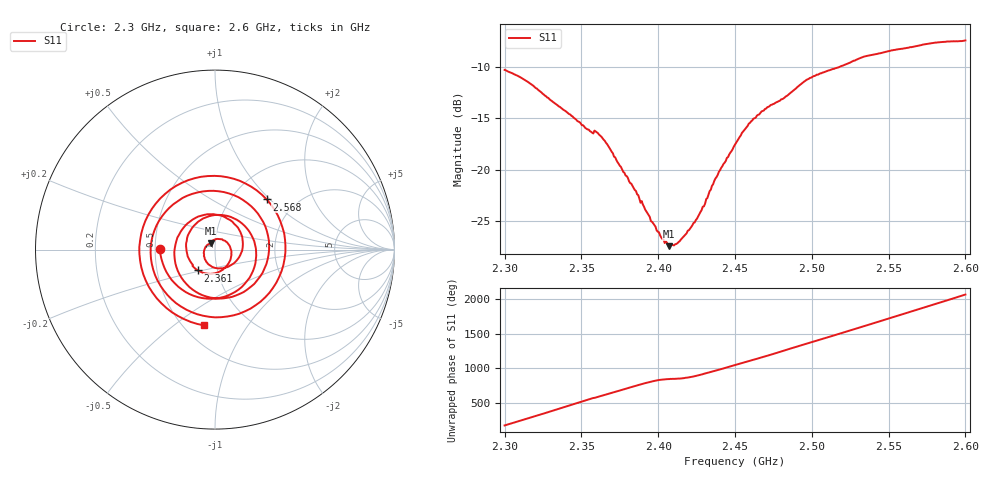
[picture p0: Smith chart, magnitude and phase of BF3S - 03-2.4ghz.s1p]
! NanoVNA-App
! Date: 2026-05-22 16:32:43
! Start: 2.3GHz Stop: 2.6GHz Points: 401
! S-Parameter data: F S11
# Hz S RI R 50
!  Frequency  S11_Real  S11_Imag
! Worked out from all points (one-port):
!   401 points, 2.3 GHz to 2.6 GHz, reference 50 ohm
!   lowest |S11| = -27.5 dB at 2.407 GHz (marker M1), VSWR 1.09, Z = 47.5 + j3.24 ohm
!   |S11| at or under -10 dB: start of sweep to 2.518 GHz
!   S11 on the Smith chart (normalised r, x): 2.3 GHz: 0.53, +0.00; 2.361 GHz: 0.80, -0.19; 2.568 GHz: 1.43, +0.96; 2.6 GHz: 0.63, -0.65
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2.3e9  -0.3066 0.00176
2.31425e9  0.0247 -0.2693
2.3255e9  0.2297 -0.0352
2.3375e9  0.0522 0.1909
2.3495e9  -0.1556 0.0642
2.36075e9  -0.0959 -0.1162
2.375e9  0.0819 -0.0647
2.40725e9  -0.025 0.0341
2.4125e9  -0.0289 0.0327
2.43425e9  -0.0515 -0.0607
2.45e9  0.1126 -0.0694
2.4605e9  0.1417 0.0973
2.471e9  -0.0415 0.1971
2.48e9  -0.2099 0.0666
2.4875e9  -0.198 -0.1377
2.498e9  0.0695 -0.2683
2.50925e9  0.3011 -0.00252
2.51825e9  0.156 0.2765
2.525e9  -0.0967 0.3186
2.53625e9  -0.3588 -0.0175
2.5475e9  -0.0658 -0.3686
2.55425e9  0.2278 -0.3089
2.5625e9  0.3924 0.0209
2.5685e9  0.2876 0.2797
2.5775e9  -0.1136 0.3977
2.5865e9  -0.4108 0.0895
2.5925e9  -0.3691 -0.2066
2.6e9  -0.0587 -0.4227
